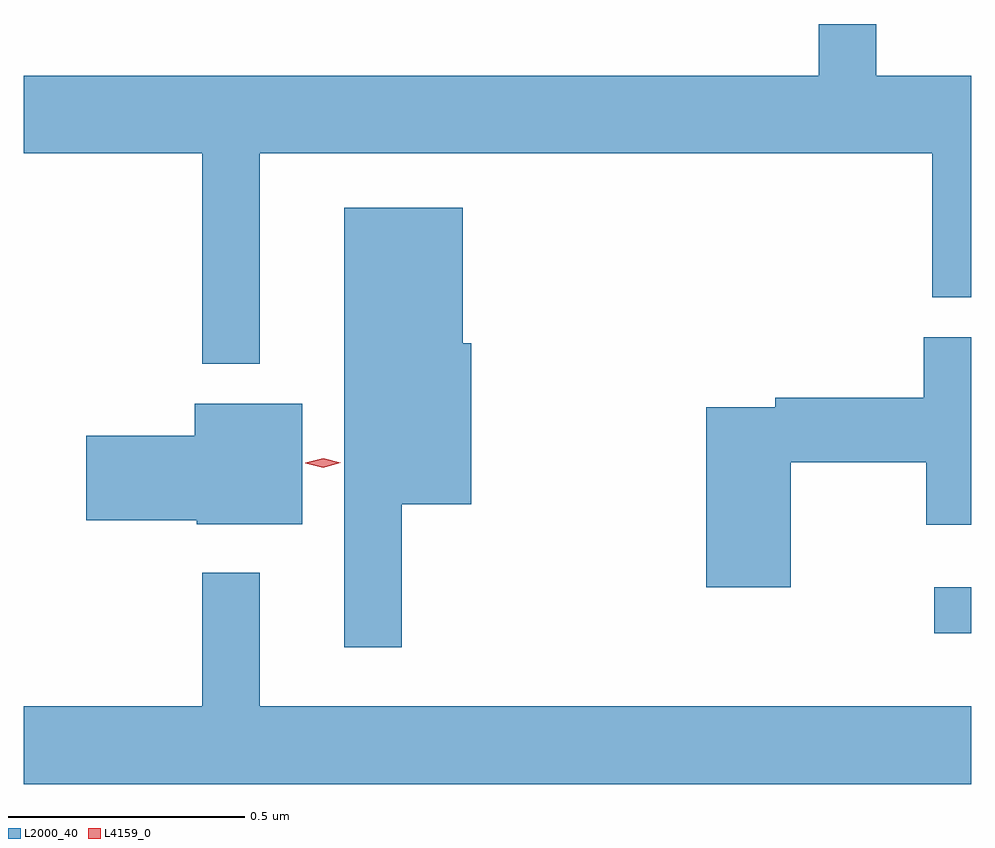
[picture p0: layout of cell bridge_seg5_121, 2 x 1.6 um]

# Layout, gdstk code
import gdstk
lib = gdstk.Library(unit=1e-6, precision=1e-09)
def R(c, l, rs):  # rectangles x0, y0, x1, y1
    for r in rs: c.add(gdstk.rectangle(r[:2], r[2:], *l))
def P(c, l, *ps):  # polygons
    for p in ps: c.add(gdstk.Polygon(p, *l))
L2000_40 = (2000, 40)
L4159_0 = (4159, 0)

bridge_seg5_121 = lib.new_cell('bridge_seg5_121')
R(bridge_seg5_121, L2000_40, [(468.843,854.414,468.921,854.512)])
P(bridge_seg5_121, L2000_40, [(467.419,855.428),(468.839,855.428),(468.839,855.124),(468.921,855.124),(468.921,855.592),(468.721,855.592),(468.721,855.701),(468.599,855.701),(468.599,855.592),(466.921,855.592),(466.921,855.428),(467.298,855.428),(467.298,854.984),(467.419,854.984)],
  [(467.719,854.687),(467.866,854.687),(467.866,855.027),(467.848,855.027),(467.848,855.313),(467.597,855.313),(467.597,854.385),(467.719,854.385)],
  [(468.54,854.776),(468.826,854.776),(468.826,854.643),(468.921,854.643),(468.921,855.039),(468.821,855.039),(468.821,854.912),(468.508,854.912),(468.508,854.892),(468.362,854.892),(468.362,854.511),(468.54,854.511)],
  [(467.509,854.899),(467.282,854.899),(467.282,854.831),(467.052,854.831),(467.052,854.653),(467.286,854.653),(467.286,854.645),(467.509,854.645)],
  [(468.921,854.26),(467.419,854.26),(467.419,854.542),(467.298,854.542),(467.298,854.26),(466.921,854.26),(466.921,854.096),(468.921,854.096)])
P(bridge_seg5_121, L4159_0, [(467.553,854.764),(467.515,854.773),(467.515,854.774),(467.515,854.774),(467.553,854.784),(467.59,854.774),(467.59,854.774),(467.59,854.774)])

lib.write_gds('bridge_seg5_121.gds')
